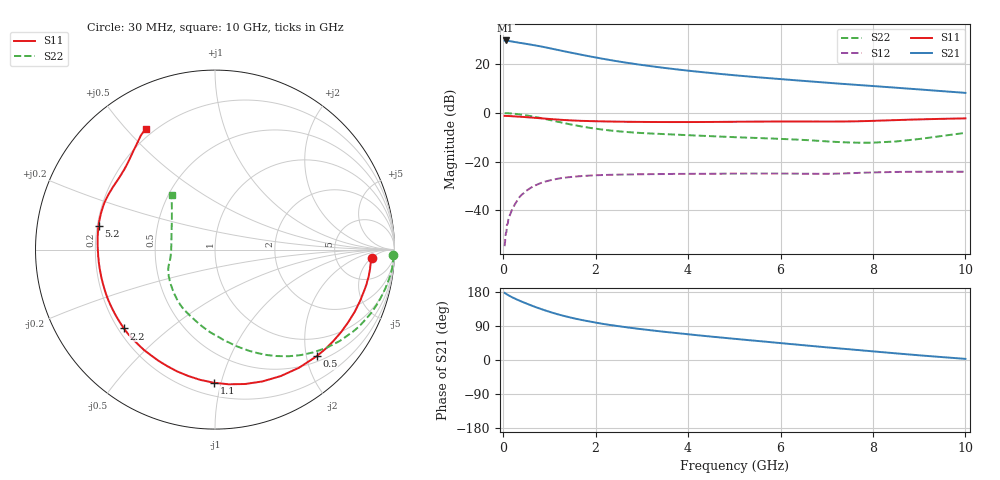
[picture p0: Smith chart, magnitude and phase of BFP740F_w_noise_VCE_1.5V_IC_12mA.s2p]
! Infineon Technologies  Discrete & RF Semiconductors
! BFP740F
! VCE =  1.5 V,  IC =  12 mA
! Common Emitter S-Parameters:  Oct 2012
# GHz  S  MA  R  50
!  f  S11  S21  S12  S22
! GHz  MAG  ANG  MAG  ANG  MAG  ANG  MAG  ANG
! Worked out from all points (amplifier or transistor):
!   99 points, 30 MHz to 10 GHz, reference 50 ohm
!   highest |S21| = 29.9 dB at 50 MHz (marker M1)
!   |S21| within 3 dB of that: start of sweep to 952.2 MHz
!   unconditionally stable (mu >= 1): 6.47 GHz to end of sweep
!   at 350 MHz: K = 0.09, MSG = 31.8 dB, |S12| = -34.7 dB
!   at 3.5 GHz: K = 0.54, MSG = 21.9 dB, |S12| = -25.2 dB
!   at 10 GHz: K = 1.28, MAG = 13.1 dB, |S12| = -24.2 dB
!   lowest NFmin = 0.48 dB at 450 MHz
!   S11 on the Smith chart (normalised r, x): 30 MHz: 13, -5; 500 MHz: 0.60, -2.20; 1.1 GHz: 0.29, -0.95; 2.2 GHz: 0.22, -0.36; 5.2 GHz: 0.21, +0.10; 10 GHz: 0.17, +0.57
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0.03  0.8737 -3.0  31.08 177.1  0.0018 83.7  0.9941 -1.8
0.05  0.8709 -4.9  31.3 175.6  0.003 94.7  0.9942 -3.2
0.13  0.8663 -12.8  30.42 169.6  0.0071 79.7  0.9861 -8.6
0.25  0.852 -24.1  29.07 162.2  0.013 78.6  0.9618 -16.2
0.4  0.8333 -37.7  27.6 154.1  0.0207 70.5  0.9237 -25.1
0.5  0.821 -46.3  26.59 149.2  0.025 65.5  0.8947 -30.7
0.6  0.8077 -54.6  25.62 144.3  0.0289 61.1  0.8618 -36.2
0.8  0.7804 -70.3  23.71 135.3  0.0356 53.3  0.7921 -46.3
1  0.7543 -84.2  21.69 127.2  0.0407 46.6  0.7211 -55.5
1.1  0.7418 -90.5  20.71 123.5  0.0428 43.6  0.6871 -59.7
1.4  0.7105 -107.4  18.05 113.7  0.0473 36.1  0.5971 -71.1
1.7  0.6885 -121.2  15.81 105.6  0.0502 30.7  0.5262 -81.0
2  0.6768 -132.6  13.98 98.7  0.0521 26.2  0.4755 -90.1
2.2  0.6712 -139.1  12.9 94.5  0.0528 23.6  0.4493 -95.9
2.7  0.6593 -151.9  10.77 85.8  0.0541 19.2  0.404 -107.2
3.4  0.6518 -165.8  8.717 75.6  0.0552 15.0  0.3708 -119.4
4.2  0.6517 -178.1  7.129 65.4  0.0559 11.9  0.3425 -129.6
5.1  0.6614 169.7  5.89 54.8  0.0563 9.6  0.3153 -140.9
5.2  0.6621 168.4  5.782 53.7  0.0564 9.2  0.313 -142.0
6.7  0.667 149.9  4.436 36.8  0.056 7.3  0.2716 -161.5
8.5  0.7145 129.4  3.322 17.5  0.061 6.6  0.2593 159.0
10  0.7755 119.9  2.6 3.0  0.0617 3.3  0.3902 128.3
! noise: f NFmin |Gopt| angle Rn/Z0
0.45  0.48  0.16  5  0.24
0.9  0.53  0.17  13  0.13
1.5  0.6  0.18  23  0.06
1.9  0.64  0.17  33  0.05
2.4  0.69  0.17  47  0.05
3.5  0.8  0.14  69  0.13
5.5  0.99  0.09  140  0.21
10  1.39  0.38  -115  0.11
